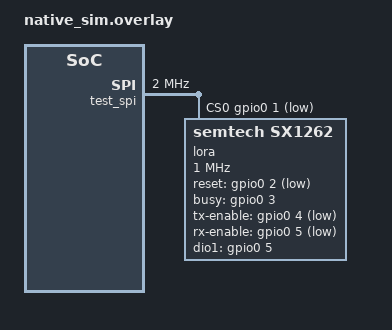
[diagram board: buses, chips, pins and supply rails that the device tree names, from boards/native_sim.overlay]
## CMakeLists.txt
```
# SPDX-License-Identifier: Apache-2.0

cmake_minimum_required(VERSION 3.20.0)

find_package(Zephyr REQUIRED HINTS $ENV{ZEPHYR_BASE})
project(lorawan_clock_sync_test)

FILE(GLOB app_sources src/*.c)
target_sources(app PRIVATE ${app_sources})
```

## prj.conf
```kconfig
# SPDX-License-Identifier: Apache-2.0

CONFIG_ZTEST=y

# General Zephyr settings
CONFIG_MAIN_STACK_SIZE=2048
CONFIG_SYSTEM_WORKQUEUE_STACK_SIZE=2048
CONFIG_THREAD_NAME=y
CONFIG_LOG=y

# LoRa PHY and required peripherals
CONFIG_LORA=y
CONFIG_SPI=y
CONFIG_GPIO=y

# Random number generator required for several LoRaWAN services
CONFIG_ENTROPY_GENERATOR=y

# LoRaWAN application layer
CONFIG_LORAWAN=y
CONFIG_LORAWAN_EMUL=y
CONFIG_LORAMAC_REGION_EU868=y

# LoRaWAN services required for this test
CONFIG_LORAWAN_SERVICES=y
CONFIG_LORAWAN_APP_CLOCK_SYNC=y
# use shortest possible periodicity for testing
CONFIG_LORAWAN_APP_CLOCK_SYNC_PERIODICITY=128
```

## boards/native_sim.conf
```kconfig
# SPDX-License-Identifier: Apache-2.0

# Turn off log messages for failed communication with non-existing LoRa PHY
CONFIG_LORA_LOG_LEVEL_OFF=y
```

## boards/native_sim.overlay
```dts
/*
 * Copyright (c) 2024 A Labs GmbH
 *
 * SPDX-License-Identifier: Apache-2.0
 *
 * This overlay defines a fake LoRa PHY node which is required to build the driver.
 */

#include <zephyr/dt-bindings/lora/sx126x.h>

/ {
	chosen {
		zephyr,code-partition = &slot0_partition;
	};

	aliases {
		lora0 = &lora;
	};

	test {
		#address-cells = <1>;
		#size-cells = <1>;

		test_spi: spi@33334444 {
			#address-cells = <1>;
			#size-cells = <0>;
			compatible = "vnd,spi";
			reg = <0x33334444 0x1000>;
			status = "okay";
			clock-frequency = <2000000>;

			cs-gpios = <&gpio0 1 GPIO_ACTIVE_LOW>;

			lora: lora@0 {
				compatible = "semtech,sx1262";
				status = "okay";
				reg = <0>;
				reset-gpios = <&gpio0 2 GPIO_ACTIVE_LOW>;
				busy-gpios = <&gpio0 3 GPIO_ACTIVE_HIGH>;
				tx-enable-gpios = <&gpio0 4 GPIO_ACTIVE_LOW>;
				rx-enable-gpios = <&gpio0 5 GPIO_ACTIVE_LOW>;
				dio1-gpios = <&gpio0 5 GPIO_ACTIVE_HIGH>;
				dio2-tx-enable;
				dio3-tcxo-voltage = <SX126X_DIO3_TCXO_3V3>;
				tcxo-power-startup-delay-ms = <5>;
				spi-max-frequency = <1000000>;
			};
		};
	};
};
```

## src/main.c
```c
/*
 * Copyright (c) 2024 A Labs GmbH
 * Copyright (c) 2024 tado GmbH
 *
 * SPDX-License-Identifier: Apache-2.0
 */

#include <zephyr/device.h>
#include <zephyr/kernel.h>
#include <zephyr/lorawan/emul.h>
#include <zephyr/lorawan/lorawan.h>
#include <zephyr/sys/byteorder.h>
#include <zephyr/sys/util.h>
#include <zephyr/ztest.h>

#define CMD_PACKAGE_VERSION             (0x00)
#define CMD_APP_TIME                    (0x01)
#define CMD_DEVICE_APP_TIME_PERIODICITY (0x02)
#define CMD_FORCE_DEVICE_RESYNC         (0x03)

#define CLOCK_SYNC_PORT (202)
#define CLOCK_SYNC_ID

struct lorawan_msg {
	/* large enough buffer to fit maximum clock sync message length */
	uint8_t data[6];
	uint8_t len;
};

K_MSGQ_DEFINE(uplink_msgq, sizeof(struct lorawan_msg), 10, 4);

void uplink_handler(uint8_t port, uint8_t len, const uint8_t *data)
{
	struct lorawan_msg msg;
	int ret;

	zassert_equal(port, CLOCK_SYNC_PORT);

	zassert_true(len <= sizeof(msg.data));
	memcpy(msg.data, data, len);
	msg.len = len;

	ret = k_msgq_put(&uplink_msgq, &msg, K_NO_WAIT);
	zassert_equal(ret, 0);
}

ZTEST(clock_sync, test_package_version)
{
	struct lorawan_msg ans;
	uint8_t req_data[] = {CMD_PACKAGE_VERSION};
	int ret;

	k_msgq_purge(&uplink_msgq);

	lorawan_emul_send_downlink(CLOCK_SYNC_PORT, false, 0, 0, sizeof(req_data), req_data);

	ret = k_msgq_get(&uplink_msgq, &ans, K_MSEC(100));
	zassert_equal(ret, 0, "receiving PackageVersionAns timed out");
	zassert_equal(ans.len, 3);
	zassert_equal(ans.data[0], CMD_PACKAGE_VERSION);
	zassert_equal(ans.data[1], 1); /* PackageIdentifier */
	zassert_equal(ans.data[2], 2); /* PackageVersion */
}

ZTEST(clock_sync, test_app_time)
{
	uint8_t ans_data[6] = {CMD_APP_TIME};
	struct lorawan_msg req;
	uint32_t device_time;
	uint32_t gps_time;
	uint8_t token_req;
	int ret;

	k_msgq_purge(&uplink_msgq);

	/* wait for more than the default (=minimum) periodicity of 128s + 30s jitter */
	ret = k_msgq_get(&uplink_msgq, &req, K_SECONDS(128 + 30 + 1));
	zassert_equal(ret, 0, "receiving AppTimeReq timed out");
	zassert_equal(req.len, 6);
	zassert_equal(req.data[0], CMD_APP_TIME);

	device_time = sys_get_le32(req.data + 1);
	token_req = req.data[5] & 0xF;
	zassert_within((int)device_time, k_uptime_seconds(), 1);

	/* apply a time correction of 1000 seconds */
	sys_put_le32(1000, ans_data + 1);
	ans_data[5] = token_req;

	lorawan_emul_send_downlink(CLOCK_SYNC_PORT, false, 0, 0, sizeof(ans_data), ans_data);

	lorawan_clock_sync_get(&gps_time);
	zassert_within(gps_time, k_uptime_seconds() + 1000, 1);
}

ZTEST(clock_sync, test_device_app_time_periodicity)
{
	const uint8_t period = 1; /* actual periodicity in seconds: 128 * 2^period */
	uint8_t req_data[] = {
		CMD_DEVICE_APP_TIME_PERIODICITY,
		period & 0xF,
	};
	struct lorawan_msg app_time_req;
	struct lorawan_msg ans;
	uint32_t device_time;
	uint32_t gps_time;
	int ret;

	k_msgq_purge(&uplink_msgq);

	lorawan_emul_send_downlink(CLOCK_SYNC_PORT, false, 0, 0, sizeof(req_data), req_data);

	ret = k_msgq_get(&uplink_msgq, &ans, K_MSEC(100));
	zassert_equal(ret, 0, "receiving DeviceAppTimePeriodicityAns timed out");
	zassert_equal(ans.len, 6);
	zassert_equal(ans.data[0], CMD_DEVICE_APP_TIME_PERIODICITY);
	zassert_equal(ans.data[1], 0);

	device_time = sys_get_le32(ans.data + 2);
	lorawan_clock_sync_get(&gps_time);
	zassert_within(device_time, gps_time, 1);

	/* wait for more than the old periodicity of 128s + 30s jitter */
	ret = k_msgq_get(&uplink_msgq, &app_time_req, K_SECONDS(128 + 30 + 1));
	zassert_equal(ret, -EAGAIN, "received AppTimeReq too early");

	/* wait for another 128s to cover the new periodicity of 256s + 30s jitter */
	ret = k_msgq_get(&uplink_msgq, &app_time_req, K_SECONDS(128));
	zassert_equal(ret, 0, "receiving AppTimeReq timed out");
	zassert_equal(app_time_req.len, 6);
	zassert_equal(app_time_req.data[0], CMD_APP_TIME);

	/* reset to minimum periodicity */
	req_data[1] = 0;
	lorawan_emul_send_downlink(CLOCK_SYNC_PORT, false, 0, 0, sizeof(req_data), req_data);
	ret = k_msgq_get(&uplink_msgq, &ans, K_MSEC(100));
	zassert_equal(ret, 0, "receiving DeviceAppTimePeriodicityAns timed out");
	zassert_equal(ans.len, 6);
	zassert_equal(ans.data[0], CMD_DEVICE_APP_TIME_PERIODICITY);
}

ZTEST(clock_sync, test_force_device_resync)
{
	const uint8_t nb_transmissions = 2;
	uint8_t resync_req_data[] = {
		CMD_FORCE_DEVICE_RESYNC,
		nb_transmissions,
	};
	struct lorawan_msg app_time_req;
	int ret;

	k_msgq_purge(&uplink_msgq);

	lorawan_emul_send_downlink(CLOCK_SYNC_PORT, false, 0, 0, sizeof(resync_req_data),
				   resync_req_data);

	for (int i = 0; i < nb_transmissions; i++) {
		/* wait for more than CLOCK_RESYNC_DELAY of 10 secs */
		ret = k_msgq_get(&uplink_msgq, &app_time_req, K_SECONDS(11));
		zassert_equal(ret, 0, "receiving AppTimeReq #%d timed out", i + 1);
		zassert_equal(app_time_req.len, 6);
		zassert_equal(app_time_req.data[0], CMD_APP_TIME);
	}
}

static void *clock_sync_setup(void)
{
	const struct device *lora_dev = DEVICE_DT_GET(DT_ALIAS(lora0));
	struct lorawan_join_config join_cfg = {0};
	int ret;

	zassert_true(device_is_ready(lora_dev), "LoRa device not ready");

	ret = lorawan_start();
	zassert_equal(ret, 0, "lorawan_start failed: %d", ret);

	ret = lorawan_join(&join_cfg);
	zassert_equal(ret, 0, "lorawan_join failed: %d", ret);

	lorawan_emul_register_uplink_callback(uplink_handler);

	ret = lorawan_clock_sync_run();
	zassert_equal(ret, 0, "clock_sync_run failed: %d", ret);

	/* wait for first messages to be processed in the background */
	k_sleep(K_SECONDS(1));

	return NULL;
}

ZTEST_SUITE(clock_sync, NULL, clock_sync_setup, NULL, NULL, NULL);
```
